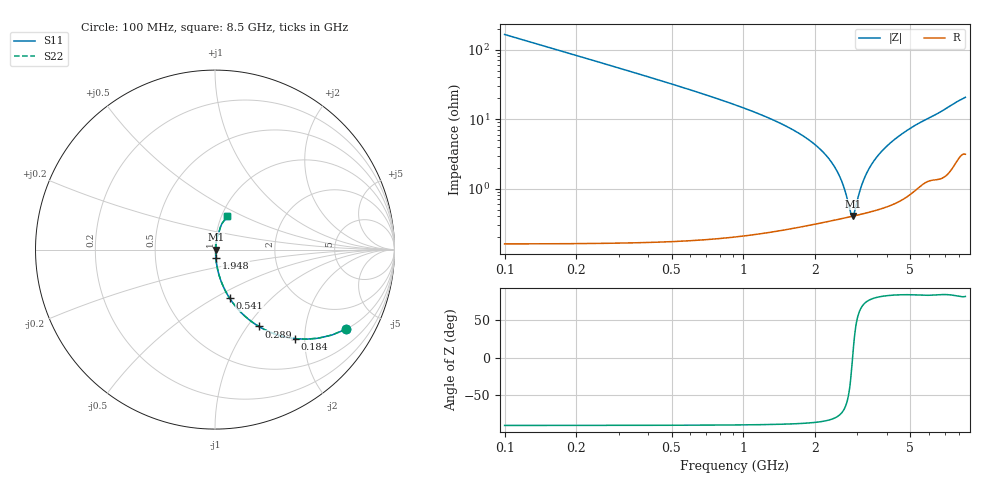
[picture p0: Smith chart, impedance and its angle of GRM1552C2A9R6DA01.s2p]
!Murata Part Number: GRM1552C2A9R6DA01
!These Parameters are Measured in Series Mode Connection
!Data Generated on Mar 30, 2021
!  o--ll--o
!Port1  Port2
!  o------o
!Operation Temp=25[degC], DC Bias Voltage=0[V]
!Freq. Start=100[MHz] Stop=9[GHz] 401[Steps]
# Hz S RI R 50
!Freq.(Hz) S11(Real) S11(Imag) S21(Real) S21(Imag) S12(Real) S12(Imag) S22(Real) S22(Imag)
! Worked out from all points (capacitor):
!   401 points, 100 MHz to 8.5 GHz, reference 50 ohm
!   read as one part in series: C = 9.6 pF near 142 MHz
!   lowest |Z| = 404 mohm at 2.872 GHz (marker M1)
!   series resonance near 2.864 GHz, so ESL is about 320 pH
!   S11 on the Smith chart (normalised r, x): 100 MHz: 1.00, -3.31; 184 MHz: 1.00, -1.79; 289 MHz: 1.00, -1.14; 541 MHz: 1.00, -0.59; 1.948 GHz: 1.01, -0.09; 8.5 GHz: 1.06, +0.41
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1e8  0.7325 -0.4421  0.2675 0.4421  0.2675 0.4421  0.7325 -0.4421
1.84e8  0.4461 -0.4962  0.5539 0.4962  0.5539 0.4962  0.4461 -0.4962
2.89e8  0.2444 -0.4283  0.7556 0.4283  0.7556 0.4283  0.2444 -0.4283
3.94e8  0.1466 -0.3517  0.8534 0.3517  0.8534 0.3517  0.1466 -0.3517
5.41e8  0.0816 -0.2709  0.9184 0.2709  0.9184 0.2709  0.0816 -0.2709
9.19e8  0.0274 -0.157  0.9726 0.157  0.9726 0.157  0.0274 -0.157
1.507e9  0.00882 -0.0787  0.9912 0.0787  0.9912 0.0787  0.00882 -0.0787
1.948e9  0.00511 -0.0455  0.9949 0.0455  0.9949 0.0455  0.00511 -0.0455
2.242e9  0.00416 -0.0286  0.9958 0.0286  0.9958 0.0286  0.00416 -0.0286
2.473e9  0.00388 -0.0171  0.9961 0.0171  0.9961 0.0171  0.00388 -0.0171
2.641e9  0.00385 -0.00944  0.9961 0.00944  0.9961 0.00944  0.00385 -0.00944
2.809e9  0.00395 -0.00228  0.9961 0.00228  0.9961 0.00228  0.00395 -0.00228
2.872e9  0.00401 0.000306  0.996 -0.000306  0.996 -0.000306  0.00401 0.000306
2.914e9  0.00406 0.002  0.9959 -0.002  0.9959 -0.002  0.00406 0.002
3.124e9  0.00439 0.0102  0.9956 -0.0102  0.9956 -0.0102  0.00439 0.0102
3.376e9  0.00496 0.0194  0.995 -0.0194  0.995 -0.0194  0.00496 0.0194
3.754e9  0.00614 0.0325  0.9939 -0.0325  0.9939 -0.0325  0.00614 0.0325
4.3e9  0.00859 0.0503  0.9914 -0.0503  0.9914 -0.0503  0.00859 0.0503
4.951e9  0.013 0.0706  0.987 -0.0706  0.987 -0.0706  0.013 0.0706
5.707e9  0.0204 0.0922  0.9796 -0.0922  0.9796 -0.0922  0.0204 0.0922
7.114e9  0.035 0.1371  0.965 -0.1371  0.965 -0.1371  0.035 0.1371
8.5e9  0.0669 0.1847  0.9331 -0.1847  0.9331 -0.1847  0.0669 0.1847
